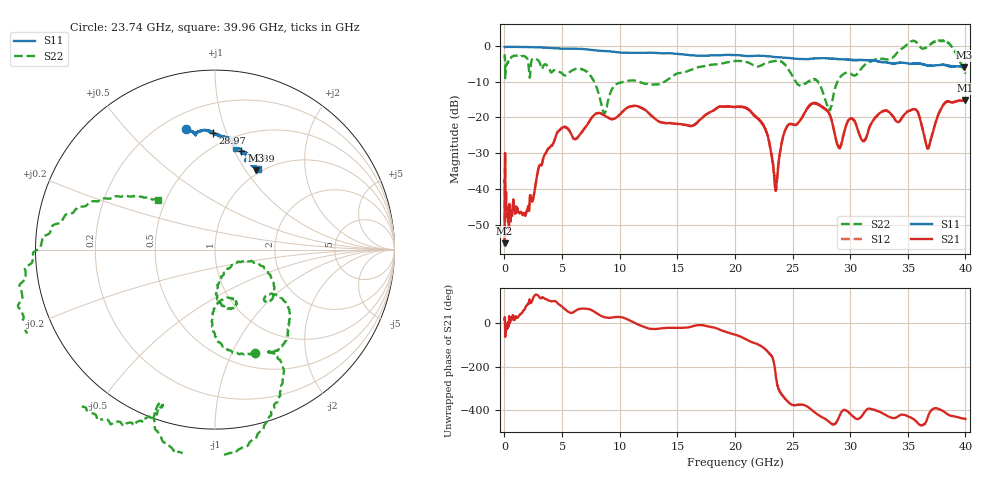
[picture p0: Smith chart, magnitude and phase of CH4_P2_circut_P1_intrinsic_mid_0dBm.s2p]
!Keysight Technologies,N5222B,MY61257109,A.17.25.03
!Date: Tuesday, July 21, 2026 19:53:52
!Correction: S11(C  2-Port  )
!S21(C  2-Port  )
!S12(C  2-Port  )
!S22(C  2-Port  )
!S2P File: Measurements: S11, S21, S12, S22:
# Hz S  dB  R 50
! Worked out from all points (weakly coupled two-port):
!   4000 points, 10 MHz to 40 GHz, reference 50 ohm
!   highest |S21| = -15.21 dB at 40 GHz (marker M1); lowest = -55.0 dB at 10 MHz (marker M2)
!   lowest |S11| = -6.0 dB at 39.92 GHz (marker M3), VSWR 2.99, Z = 47.8 + j56.1 ohm
!   |S11| at or under -10 dB: nowhere
!   |S22| runs from -19.0 to 1.4 dB; largest |S21 - S12| = 0.0032
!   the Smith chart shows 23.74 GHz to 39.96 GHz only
!   S11 on the Smith chart (normalised r, x): 23.74 GHz: 0.29, +0.75; 28.97 GHz: 0.40, +0.90; 34.89 GHz: 0.66, +1.07; 39.96 GHz: 0.95, +1.16
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1e7  -0.40 -179.6  -55.05 16.2  -55.84 14.3  -2.40 -51.1
2.2e8  -0.35 179.1  -46.03 -16.9  -45.99 -16.3  -5.10 -172.8
5.9e8  -0.35 177.4  -47.40 19.8  -47.37 19.8  -3.25 165.7
1.71e9  -0.39 172.4  -46.76 61.7  -46.75 61.8  -2.89 102.6
4.68e9  -0.80 160.0  -23.84 88.1  -23.80 88.4  -7.27 32.2
6.68e9  -0.91 152.3  -24.21 66.9  -24.24 66.9  -6.50 4.2
8.65e9  -1.51 145.2  -19.40 27.8  -19.39 27.8  -18.93 0.8
1.334e10  -2.08 132.9  -21.01 -25.5  -21.01 -25.6  -10.78 6.1
2.001e10  -2.63 115.3  -17.07 -52.3  -17.13 -52.0  -4.30 -33.8
2.236e10  -2.83 108.1  -21.65 -108.1  -21.54 -108.2  -5.39 -48.4
2.374e10  -3.23 103.5  -34.09 65.1  -33.75 69.5  -4.17 -68.6
2.445e10  -3.41 101.7  -22.90 9.3  -22.99 7.8  -5.73 -87.1
2.667e10  -3.61 99.1  -16.13 -37.8  -16.11 -37.9  -9.53 -70.2
2.819e10  -3.58 92.9  -19.05 -92.8  -19.01 -93.1  -17.73 -53.5
2.897e10  -3.76 90.9  -28.25 -79.3  -27.98 -77.7  -9.52 -24.4
3.334e10  -4.74 77.9  -18.45 -68.7  -18.31 -68.8  -3.79 -62.1
3.489e10  -4.91 75.0  -18.56 -64.1  -18.53 -64.1  0.15 -74.4
3.675e10  -5.46 70.7  -28.40 -69.0  -28.34 -68.6  -0.26 -109.9
3.834e10  -5.39 66.1  -15.73 -53.5  -15.69 -53.7  1.07 -160.3
3.992e10  -6.05 62.4  -15.29 -77.9  -15.19 -77.9  -7.23 140.0
3.996e10  -5.81 61.8  -15.34 -78.3  -15.30 -78.6  -7.54 139.2
4e10  -5.96 63.0  -15.21 -79.0  -15.14 -79.1  -7.81 138.9
